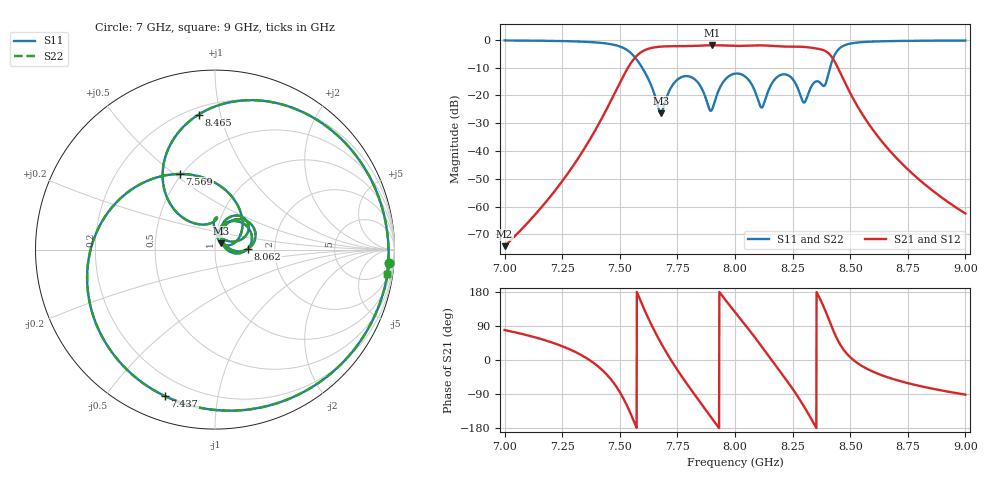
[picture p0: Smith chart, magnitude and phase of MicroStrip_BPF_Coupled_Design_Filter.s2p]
! Created Fri Apr  5 20:04:46 2024
# hz S db R 50
! 2 Port Network Data from SP1.SP block
! freq  dbS11  angS11  dbS21  angS21  dbS12  angS12  dbS22  angS22
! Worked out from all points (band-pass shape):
!   2001 points, 7 GHz to 9 GHz, reference 50 ohm
!   highest |S21| = -1.95 dB at 7.9 GHz (marker M1); lowest = -74.2 dB at 7 GHz (marker M2)
!   |S21| within 3 dB of the highest: 7.584 GHz to 8.407 GHz (823.1 MHz wide, 10.3 % of centre)
!   lowest |S11| = -26.4 dB at 7.678 GHz (marker M3), VSWR 1.10, Z = 53.1 + j3.84 ohm
!   |S11| at or under -10 dB: 7.597 GHz to 8.412 GHz (815.6 MHz wide, 10.2 % of centre)
!   |S22| runs from -26.4 to -0.2 dB; largest |S21 - S12| = 0
!   S11 on the Smith chart (normalised r, x): 7 GHz: 9, -24; 7.437 GHz: 0.11, -0.71; 7.569 GHz: 0.49, +0.52; 8.062 GHz: 1.45, +0.01; 8.465 GHz: 0.24, +0.86; 9 GHz: 3, -13
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7e9  -0.24 -4.3  -74.25 79.0  -74.25 79.0  -0.24 -4.3
7.334e9  -0.67 -65.3  -40.75 12.6  -40.75 12.6  -0.67 -65.3
7.437e9  -1.28 -108.9  -25.89 -34.4  -25.89 -34.4  -1.28 -108.9
7.512e9  -2.79 -169.2  -13.60 -97.4  -13.60 -97.4  -2.79 -169.2
7.569e9  -6.65 115.0  -6.15 -173.0  -6.15 -173.0  -6.65 115.0
7.625e9  -14.30 38.0  -3.21 108.5  -3.21 108.5  -14.30 38.0
7.667e9  -24.46 23.7  -2.54 57.8  -2.54 57.8  -24.46 23.7
7.678e9  -26.38 48.7  -2.46 45.6  -2.46 45.6  -26.38 48.7
7.733e9  -15.84 67.6  -2.32 -10.5  -2.32 -10.5  -15.84 67.6
7.801e9  -13.19 20.9  -2.26 -71.2  -2.26 -71.2  -13.19 20.9
7.9e9  -25.16 42.5  -1.95 -154.3  -1.95 -154.3  -25.16 42.5
8e9  -12.18 34.7  -2.19 126.4  -2.19 126.4  -12.18 34.7
8.062e9  -14.74 1.3  -2.10 78.9  -2.10 78.9  -14.74 1.3
8.116e9  -24.39 36.5  -2.02 35.3  -2.02 35.3  -24.39 36.5
8.175e9  -14.03 65.7  -2.27 -13.2  -2.27 -13.2  -14.03 65.7
8.262e9  -15.60 21.6  -2.47 -86.8  -2.47 -86.8  -15.60 21.6
8.299e9  -22.60 55.3  -2.56 -122.2  -2.56 -122.2  -22.60 55.3
8.334e9  -16.44 92.4  -2.89 -158.5  -2.89 -158.5  -16.44 92.4
8.401e9  -13.69 131.7  -4.50 116.9  -4.50 116.9  -13.69 131.7
8.465e9  -2.41 97.0  -13.28 32.7  -13.28 32.7  -2.41 97.0
8.667e9  -0.48 32.0  -39.47 -46.5  -39.47 -46.5  -0.48 32.0
9e9  -0.27 -8.1  -62.49 -91.4  -62.49 -91.4  -0.27 -8.1
